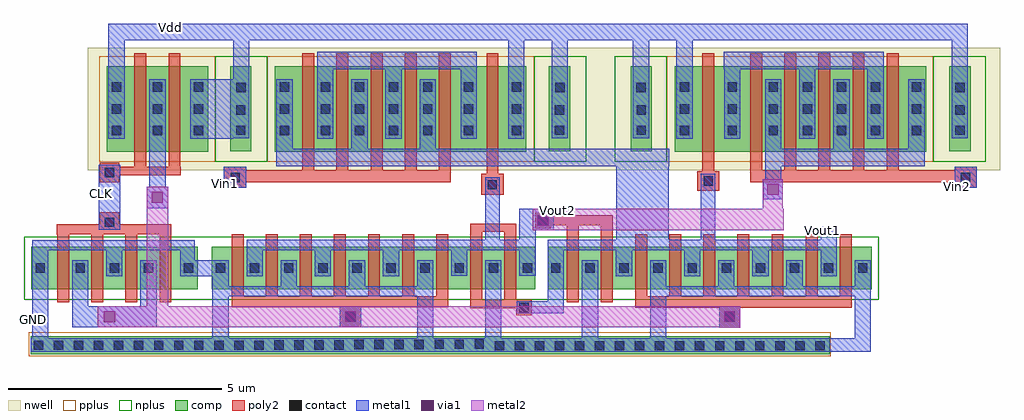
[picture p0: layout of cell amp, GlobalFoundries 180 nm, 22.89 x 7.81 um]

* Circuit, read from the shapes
.subckt amp CLK GND Vdd Vin1 Vin2 Vout1 Vout2
XM1 n1 CLK GND GND nfet_03v3 w=1u l=0.28u m=4
XM2 Vout2 n1 GND GND nfet_03v3 w=1u l=0.28u m=7
XM3 GND Vout1 Vout2 GND nfet_03v3 w=1u l=0.28u m=2
XM4 GND Vout2 Vout1 GND nfet_03v3 w=1u l=0.28u m=2
XM5 GND n1 Vout1 GND nfet_03v3 w=1u l=0.28u m=7
XM6 n1 CLK Vdd Vdd pfet_03v3 w=2u l=0.28u m=2
XM7 n2 Vin1 Vout1 Vdd pfet_03v3 w=2u l=0.28u m=5
XM8 Vdd Vout2 n2 Vdd pfet_03v3 w=2u l=0.28u
XM9 n3 Vout1 Vdd Vdd pfet_03v3 w=2u l=0.28u
XM10 Vout2 Vin2 n3 Vdd pfet_03v3 w=2u l=0.28u m=5
.ends

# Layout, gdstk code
from math import pi, radians
import gdstk
lib = gdstk.Library(unit=1e-6, precision=5e-09)
def R(c, l, rs):  # rectangles x0, y0, x1, y1
    for r in rs: c.add(gdstk.rectangle(r[:2], r[2:], *l))
def A(c, l, x, y, w, h, nx, ny, dx, dy):  # array of equal rectangles
    R(c, l, [(x+i*dx, y+j*dy, x+i*dx+w, y+j*dy+h) for i in range(nx) for j in range(ny)])
def P(c, l, *ps):  # polygons
    for p in ps: c.add(gdstk.Polygon(p, *l))
nwell = (21, 0)
comp = (22, 0)
poly2 = (30, 0)
pplus = (31, 0)
nplus = (32, 0)
contact = (33, 0)
metal1 = (34, 0)
via1 = (35, 0)
metal2 = (36, 0)

nfet_1 = lib.new_cell('nfet$1')
R(nfet_1, comp, [(-1.85,0,5.74,1)])
R(nfet_1, poly2, [(-1.41,-0.3,-1.13,1.51), (0.99,-0.3,1.27,1.3), (1.79,-0.3,2.07,1.3), (4.99,-0.3,5.27,1.3)])
R(nfet_1, nplus, [(-2.01,-0.24,5.9,1.24)])
R(nfet_1, contact, [(-1.78,0.39,-1.56,0.61), (1.42,0.39,1.64,0.61), (5.42,0.39,5.64,0.61)])
R(nfet_1, metal1, [(1.34,0.31,1.72,0.69)])

pfet = lib.new_cell('pfet')
R(pfet, comp, [(-5.365,-1.01,-4.705,0.99), (-4.705,-1.01,-4.245,0.99)])
R(pfet, poly2, [(-5.175,-1.595,-4.895,1.29)])
R(pfet, pplus, [(-5.195,-1.25,-4.06,1.23)])
A(pfet, contact, -4.585, -0.63, 0.22, 0.22, 1, 3, 0, 0.51)
R(pfet, metal1, [(-4.665,-0.71,-4.285,1.63)])

pmos = lib.new_cell('PMOS')
R(pmos, nwell, [(-4.835,-1.93,4.535,0.95)])
R(pmos, comp, [(-3.105,-1.49,-2.645,0.51), (-2.645,-1.49,1.215,0.51), (1.215,-1.49,1.675,0.51), (-4.15,-1.485,-3.65,0.515), (3.33,-1.485,3.83,0.515)])
P(pmos, comp, [(1.675,-1.49),(1.675,0.51),(1.675,0.51),(1.675,-1.49)])
A(pmos, poly2, -0.855, -1.97, 0.28, 2.78, 3, 1, 0.8, 0)
R(pmos, poly2, [(1.745,-2.505,2.27,-2.015), (-4.295,-2.34,-3.77,-1.85), (-3.78,-2.205,1.025,-1.93), (-1.655,-2,-1.375,0.81), (-2.455,-1.98,-2.175,0.81)])
R(pmos, pplus, [(-3.275,-1.73,1.845,0.75)])
R(pmos, nplus, [(-4.495,-1.73,-3.275,0.75), (2.985,-1.73,4.205,0.75)])
A(pmos, contact, -2.985, -1.11, 0.22, 0.22, 1, 3, 0, 0.51)
A(pmos, contact, -2.025, -1.11, 0.22, 0.22, 4, 3, 0.8, 0.51)
A(pmos, contact, 1.335, -1.11, 0.22, 0.22, 1, 3, 0, 0.51)
R(pmos, contact, [(-4.14,-2.205,-3.92,-1.985), (-4.01,-1.1,-3.79,-0.88), (3.47,-1.1,3.69,-0.88), (-4.01,-0.625,-3.79,-0.405), (3.47,-0.625,3.69,-0.405), (-4.005,-0.1,-3.785,0.12), (3.475,-0.1,3.695,0.12)])
R(pmos, metal1, [(-4.295,-2.34,-3.77,-1.85), (-3.065,-1.83,6.15,-1.43), (-3.065,-1.43,-2.685,0.21), (-1.305,-1.43,-0.925,0.21), (0.295,-1.43,0.675,0.21), (-2.105,-1.19,-1.725,0.705), (-0.505,-1.19,-0.125,0.79), (1.255,-1.19,1.635,0.84), (-4.08,-1.18,-3.705,1.51), (3.395,-1.18,3.775,1.49), (-2.105,0.445,1.64,0.845), (-6.955,1.125,2.255,1.51), (2.255,1.125,3.7,1.505)])
pmos.add(gdstk.Reference(pfet, (7.04,-0.48)))

nfet = lib.new_cell('nfet')
R(nfet, comp, [(0.34,2.685,0.76,3.685), (0.76,2.685,3.82,3.685), (3.82,2.685,4.24,3.685)])
R(nfet, poly2, [(0.95,2.385,1.23,3.985), (1.75,2.385,2.03,4.12), (2.55,2.385,2.83,4.035), (3.35,2.385,3.63,3.985)])
R(nfet, nplus, [(0.17,2.445,4.41,3.925)])
A(nfet, contact, 1.38, 3.075, 0.22, 0.22, 3, 1, 0.8, 0)
R(nfet, contact, [(0.44,3.075,0.66,3.295), (3.92,3.075,4.14,3.295)])
R(nfet, metal1, [(0.36,1.28,0.74,3.835), (2.9,1.87,3.28,3.375), (1.3,1.985,1.68,3.375), (2.1,2.995,2.48,3.725), (3.84,2.995,4.615,3.375)])

pfet_1 = lib.new_cell('pfet$1')
R(pfet_1, nwell, [(-2.48,-1.185,0.78,1.695)])
R(pfet_1, comp, [(-2.04,-0.745,-1.58,1.255), (-1.58,-0.745,-0.12,1.255), (-0.12,-0.745,0.34,1.255)])
R(pfet_1, poly2, [(-1.39,-1.045,-1.11,1.645), (-0.59,-1.045,-0.31,1.615)])
R(pfet_1, pplus, [(-2.21,-0.985,0.51,1.495)])
A(pfet_1, contact, -1.92, -0.365, 0.22, 0.22, 3, 3, 0.96, 0.51)
R(pfet_1, metal1, [(-0.08,-1.745,0.3,0.955), (-2.63,-0.445,-1.62,0.955), (-1.04,-0.445,-0.66,2.48)])

amp = lib.new_cell('amp')
R(amp, nwell, [(2.37,4.385,11.745,7.265)])
R(amp, comp, [(-10.995,0.07,7.75,0.49), (-6.75,1.59,0.84,2.59), (4.115,4.825,4.575,6.825), (4.575,4.825,5.235,6.825), (5.235,4.825,5.695,6.825), (5.695,4.825,9.555,6.825), (9.555,4.825,10.015,6.825), (3.08,4.83,3.58,6.83), (10.56,4.83,11.06,6.83)])
P(amp, comp, [(5.235,4.825),(5.235,6.825),(5.235,6.825),(5.235,4.825)])
A(amp, poly2, -6.28, 1.29, 0.28, 1.6, 7, 1, 0.8, 0)
A(amp, poly2, 5.585, 1.29, 0.28, 1.6, 3, 1, 0.8, 0)
A(amp, poly2, 5.885, 4.345, 0.28, 2.78, 3, 1, 0.8, 0)
R(amp, poly2, [(5.155,0.695,5.655,1.165), (-3.74,0.7,-3.24,1.17), (0.4,0.99,0.76,1.35), (-0.68,1.145,0.4,1.35), (3.185,1.165,8.265,1.425), (-6.28,1.17,-1.2,1.43), (-0.68,1.24,-0.4,2.94), (0.12,1.24,0.4,2.94), (2.385,1.29,2.665,3.095), (3.185,1.29,3.465,2.89), (-10.38,2.89,-7.69,3.12), (-9.375,2.935,-8.915,3.395), (-0.68,2.94,0.4,3.135), (0.845,3.03,1.205,3.39), (1.1,3.09,2.665,3.325), (4.64,3.9,5.16,4.36), (10.68,3.975,11.205,4.465), (-9.375,4.105,-8.915,4.565), (5.885,4.11,10.69,4.385), (-8.95,4.27,-7.475,4.465), (8.285,4.315,8.565,7.125), (9.085,4.335,9.365,7.125), (4.765,4.36,5.045,7.125)])
R(amp, pplus, [(-11.035,0.02,7.775,0.585), (3.93,4.585,5.065,7.065), (5.065,4.585,10.185,7.065)])
R(amp, nplus, [(-6.91,1.35,1,2.83), (2.705,4.585,3.925,7.065), (10.185,4.585,11.405,7.065)])
A(amp, contact, -0.11, 0.16, 0.22, 0.22, 17, 1, 0.47, 0)
A(amp, contact, -10.92, 0.17, 0.22, 0.22, 12, 1, 0.47, 0)
A(amp, contact, -6.65, 1.98, 0.22, 0.22, 10, 1, 0.8, 0)
A(amp, contact, 2.015, 1.98, 0.22, 0.22, 3, 1, 0.8, 0)
A(amp, contact, 5.215, 1.98, 0.22, 0.22, 4, 1, 0.8, 0)
A(amp, contact, 4.235, 5.205, 0.22, 0.22, 1, 3, 0, 0.51)
A(amp, contact, 5.355, 5.205, 0.22, 0.22, 1, 3, 0, 0.51)
A(amp, contact, 6.315, 5.205, 0.22, 0.22, 4, 3, 0.8, 0.51)
A(amp, contact, 9.675, 5.205, 0.22, 0.22, 1, 3, 0, 0.51)
R(amp, contact, [(-0.11,0.16,0.11,0.38), (-5.28,0.175,-5.06,0.395), (-4.81,0.175,-4.59,0.395), (-4.34,0.18,-4.12,0.4), (-3.87,0.18,-3.65,0.4), (-3.4,0.185,-3.18,0.405), (-2.93,0.185,-2.71,0.405), (-2.93,0.185,-2.71,0.405), (-2.46,0.19,-2.24,0.41), (-1.99,0.19,-1.77,0.41), (-1.99,0.19,-1.77,0.41), (-1.52,0.195,-1.3,0.415), (-1.05,0.195,-0.83,0.415), (-1.05,0.195,-0.83,0.415), (-0.58,0.2,-0.36,0.42), (5.295,0.835,5.515,1.055), (-3.6,0.84,-3.38,1.06), (0.47,1.06,0.69,1.28), (-9.255,3.055,-9.035,3.275), (0.915,3.1,1.135,3.32), (-0.275,3.935,-0.055,4.155), (4.79,4.02,5.01,4.24), (10.83,4.11,11.05,4.33), (-9.255,4.225,-9.035,4.445), (3.22,5.215,3.44,5.435), (10.7,5.215,10.92,5.435), (3.22,5.69,3.44,5.91), (10.7,5.69,10.92,5.91), (3.215,6.215,3.435,6.435), (10.695,6.215,10.915,6.435)])
A(amp, metal1, -6.73, 1.9, 0.38, 0.38, 7, 1, 0.8, 0)
A(amp, metal1, 5.135, 1.9, 0.38, 0.38, 5, 1, 0.8, 0)
A(amp, metal1, -5.93, 2.28, 0.38, 0.23, 4, 1, 1.6, 0)
R(amp, metal1, [(-10.99,0.13,8.715,0.45), (8.335,0.13,8.715,1.9), (-6.73,0.44,-6.35,1.9), (-1.93,0.45,-1.55,1.9), (-0.33,0.45,0.05,1.9), (1.935,0.45,2.315,2.27), (3.535,0.45,3.915,1.9), (5.155,0.695,5.655,1.195), (-10.02,0.7,-8.04,1.2), (-3.74,0.7,-3.24,1.2), (0.41,1.035,1.515,1.315), (1.135,1.035,1.515,2.75), (-6.73,1.43,-1.55,1.67), (-3.53,1.43,-3.15,1.9), (3.535,1.43,8.715,1.67), (6.735,1.435,7.115,1.9), (-5.13,1.44,-4.75,1.9), (5.135,1.45,5.515,1.9), (2.735,1.895,3.115,2.75), (-0.33,1.9,0.05,2.28), (3.535,1.9,3.915,2.28), (-1.13,1.91,-0.75,2.28), (0.47,1.91,0.85,3.48), (-7.48,2.28,-7.14,2.595), (4.335,2.28,4.715,2.75), (5.935,2.28,6.315,2.51), (7.535,2.28,7.915,3.065), (-10.945,2.51,-7.14,2.74), (-5.93,2.51,-0.75,2.75), (1.135,2.51,3.115,2.75), (2.735,2.51,7.915,2.75), (-1.13,2.515,0.85,2.755), (-0.335,2.64,0.005,4.225), (4.73,2.64,5.07,4.3), (2.745,2.745,3.97,4.505), (0.78,2.98,1.28,3.48), (-9.395,2.995,-8.895,3.415), (-9.395,3.415,-8.895,4.515), (-8.27,3.5,-7.77,4), (6.19,3.71,6.65,4.17), (6.235,3.71,6.615,6.525), (10.68,3.975,11.205,4.465), (6.235,4.485,9.975,4.885), (7.835,4.885,8.215,6.525), (9.595,4.885,9.975,6.525), (4.155,5.125,4.535,7.465), (5.275,5.125,5.655,7.155), (7.035,5.125,7.415,7.105), (8.635,5.125,9.015,7.02), (3.135,5.135,3.515,7.805), (10.615,5.135,10.99,7.825), (5.27,6.76,9.015,7.16), (1.37,7.44,4.655,7.82), (4.655,7.44,10.99,7.825)])
R(amp, via1, [(5.275,0.815,5.535,1.075), (-9.275,0.82,-9.015,1.08), (-3.62,0.82,-3.36,1.08), (0.895,3.08,1.155,3.34), (-8.15,3.62,-7.89,3.88), (6.29,3.81,6.55,4.07)])
R(amp, metal2, [(5.155,0.695,5.655,1.195), (-9.42,0.7,5.625,1.2), (-8.27,0.72,-7.77,4), (0.78,2.98,6.67,3.48), (6.185,3.44,6.65,4.17)])
amp.add(gdstk.Reference(nfet_1, (2.995,1.59)))
amp.add(gdstk.Reference(pmos, (-2.165,6.315)))
amp.add(gdstk.Reference(nfet, (-11.32,-1.095)))
amp.add(gdstk.Reference(pfet_1, (-8.87,6.08), rotation=pi))
amp.add(gdstk.Label('CLK', (-9.33,3.835), layer=34, texttype=10))
amp.add(gdstk.Label('Vdd', (-7.71,7.725), layer=34, texttype=10))
amp.add(gdstk.Label('GND', (-10.935,0.875), layer=34, texttype=10))
amp.add(gdstk.Label('Vin1', (-6.43,4.08), layer=34, texttype=10))
amp.add(gdstk.Label('Vout1', (7.59,2.975), layer=34, texttype=10))
amp.add(gdstk.Label('Vin2', (10.745,4.015), layer=34, texttype=10))
amp.add(gdstk.Label('Vout2', (1.37,3.44), layer=36, texttype=10))

lib.write_gds('amp.gds')
